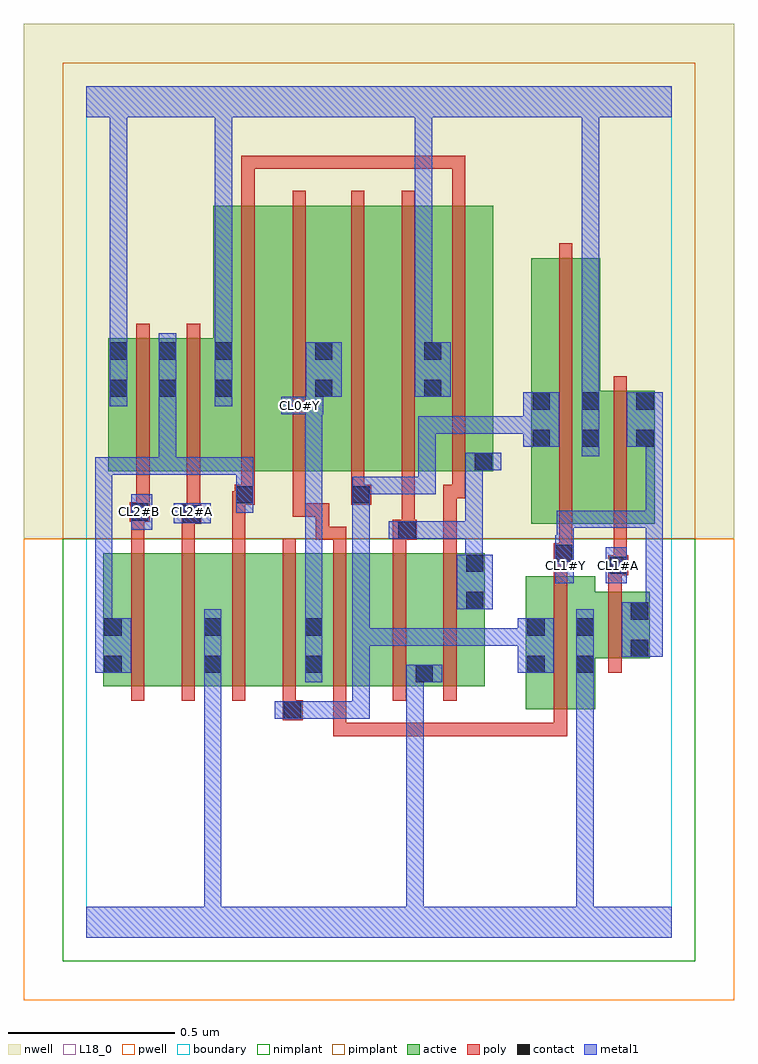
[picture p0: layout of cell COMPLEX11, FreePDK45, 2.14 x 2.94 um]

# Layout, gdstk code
import gdstk
lib = gdstk.Library(unit=1e-6, precision=1e-09)
def R(c, l, rs):  # rectangles x0, y0, x1, y1
    for r in rs: c.add(gdstk.rectangle(r[:2], r[2:], *l))
def A(c, l, x, y, w, h, nx, ny, dx, dy):  # array of equal rectangles
    R(c, l, [(x+i*dx, y+j*dy, x+i*dx+w, y+j*dy+h) for i in range(nx) for j in range(ny)])
active = (1, 0)
pwell = (2, 0)
nwell = (3, 0)
nimplant = (4, 0)
pimplant = (5, 0)
poly = (9, 0)
contact = (10, 0)
metal1 = (11, 0)
L18_0 = (18, 0)
boundary = (235, 0)

complex11 = lib.new_cell('COMPLEX11')
R(complex11, active, [(1.322,0.686,1.53,1.086), (1.47,0.686,1.53,0.984), (0.05,0.756,0.11,1.156), (0.05,0.756,0.23,1.156), (0.23,0.756,0.41,1.156), (0.35,0.756,0.41,1.156), (0.35,0.756,0.534,1.156), (0.534,0.756,0.714,1.156), (0.654,0.756,0.714,1.156), (0.654,0.756,0.866,1.156), (0.866,0.756,1.046,1.156), (0.986,0.756,1.198,1.156), (0.986,0.756,1.046,0.932), (1.138,0.756,1.198,1.156), (1.322,0.756,1.382,1.086), (1.47,0.84,1.694,1.04), (1.634,0.84,1.694,1.04), (1.338,1.244,1.398,2.044), (1.338,1.244,1.546,2.044), (1.486,1.244,1.71,1.644), (1.486,1.244,1.546,2.044), (1.65,1.244,1.71,1.644), (0.066,1.402,0.274,1.802), (0.066,1.402,0.126,1.802), (0.214,1.402,0.442,1.802), (0.382,1.402,0.562,2.202), (0.562,1.402,0.744,2.202), (0.684,1.402,0.892,2.202), (0.892,1.402,1.072,2.202), (1.012,1.402,1.072,2.044), (1.012,1.402,1.224,2.202), (1.164,1.402,1.224,2.044), (0.214,1.498,0.274,1.794), (0.382,1.498,0.442,1.794), (0.684,1.586,0.744,2.044)])
R(complex11, pwell, [(-0.188,-0.188,1.948,1.2)])
R(complex11, nwell, [(-0.188,1.2,1.948,2.748)])
R(complex11, nimplant, [(-0.072,-0.072,1.832,1.2)])
R(complex11, pimplant, [(-0.072,1.2,1.832,2.632)])
A(complex11, poly, 0.134, 0.712, 0.04, 0.488, 5, 1, 0.152, 0)
A(complex11, poly, 0.796, 1.358, 0.04, 0.888, 3, 1, 0.152, 0)
R(complex11, poly, [(0.742,0.606,0.782,0.646), (0.742,0.606,0.888,0.646), (0.742,0.606,0.782,0.752), (0.848,0.606,0.888,0.646), (0.848,0.606,0.888,0.646), (0.848,0.606,0.888,0.646), (0.848,0.606,1.14,0.646), (1.1,0.606,1.14,0.646), (1.1,0.606,1.14,0.646), (1.1,0.606,1.14,0.646), (1.1,0.606,1.246,0.646), (1.206,0.606,1.246,0.646), (1.206,0.606,1.446,0.646), (1.406,0.606,1.446,0.646), (1.406,0.606,1.446,0.646), (1.406,0.606,1.446,0.646), (1.406,0.606,1.446,0.682), (1.406,0.642,1.446,1.13), (0.59,0.654,0.65,0.714), (0.59,0.674,0.63,0.752), (0.922,0.712,0.962,1.2), (1.074,0.712,1.114,1.2), (1.57,0.796,1.61,1.084), (1.57,1.044,1.61,1.13), (1.406,1.09,1.446,1.166), (1.57,1.09,1.63,1.15), (1.586,1.11,1.626,1.24), (1.586,1.11,1.626,1.15), (1.586,1.11,1.626,1.15), (1.406,1.126,1.446,1.166), (1.406,1.126,1.446,1.166), (1.406,1.126,1.466,1.186), (1.422,1.146,1.462,1.24), (0.134,1.16,0.174,1.29), (0.286,1.16,0.326,1.284), (0.438,1.16,0.478,1.342), (0.742,1.16,0.782,1.236), (0.922,1.16,0.962,1.236), (1.074,1.16,1.114,1.362), (0.69,1.196,0.73,1.236), (0.69,1.196,0.782,1.236), (0.69,1.196,0.73,1.306), (0.742,1.196,0.782,1.236), (0.922,1.196,0.994,1.256), (1.422,1.2,1.462,2.088), (1.586,1.2,1.626,1.688), (0.948,1.216,0.988,1.256), (0.948,1.216,0.988,1.256), (0.948,1.216,0.988,1.398), (0.286,1.244,0.346,1.304), (0.13,1.25,0.19,1.31), (0.302,1.264,0.342,1.304), (0.302,1.264,0.342,1.304), (0.302,1.264,0.342,1.398), (0.62,1.266,0.66,1.306), (0.62,1.266,0.73,1.306), (0.62,1.266,0.66,1.398), (0.69,1.266,0.73,1.306), (0.15,1.27,0.19,1.31), (0.15,1.27,0.19,1.31), (0.15,1.27,0.19,1.398), (0.438,1.302,0.486,1.342), (0.446,1.302,0.486,1.342), (0.446,1.302,0.506,1.362), (0.796,1.302,0.856,1.362), (0.466,1.322,0.506,1.398), (0.796,1.322,0.836,1.398), (1.074,1.322,1.14,1.362), (1.1,1.322,1.14,1.362), (1.1,1.322,1.14,1.362), (1.1,1.322,1.14,1.398), (0.15,1.358,0.19,1.846), (0.302,1.358,0.342,1.846), (0.466,1.358,0.506,2.246), (0.62,1.358,0.66,2.246), (0.466,2.206,0.506,2.352), (1.1,2.206,1.14,2.352), (0.466,2.312,0.506,2.352), (0.466,2.312,0.506,2.352), (0.466,2.312,0.506,2.352), (0.466,2.312,0.676,2.352), (0.636,2.312,0.676,2.352), (0.636,2.312,0.782,2.352), (0.742,2.312,0.782,2.352), (0.742,2.312,0.782,2.352), (0.742,2.312,0.782,2.352), (0.742,2.312,1.008,2.352), (0.968,2.312,1.008,2.352), (0.968,2.312,1.008,2.352), (0.968,2.312,1.008,2.352), (0.968,2.312,1.14,2.352), (1.1,2.312,1.14,2.352), (1.1,2.312,1.14,2.352), (1.1,2.312,1.14,2.352)])
R(complex11, contact, [(0.594,0.658,0.646,0.71), (0.99,0.768,1.042,0.82), (0.054,0.796,0.106,0.848), (0.354,0.796,0.406,0.848), (0.658,0.796,0.71,0.848), (1.326,0.796,1.378,0.848), (1.474,0.796,1.526,0.848), (1.638,0.844,1.69,0.896), (0.054,0.908,0.106,0.96), (0.354,0.908,0.406,0.96), (0.658,0.908,0.71,0.96), (1.326,0.908,1.378,0.96), (1.474,0.908,1.526,0.96), (1.638,0.956,1.69,1.008), (1.142,0.988,1.194,1.04), (1.574,1.094,1.626,1.146), (1.142,1.1,1.194,1.152), (1.41,1.13,1.462,1.182), (0.938,1.2,0.99,1.252), (0.29,1.248,0.342,1.3), (0.134,1.254,0.186,1.306), (0.45,1.306,0.502,1.358), (0.8,1.306,0.852,1.358), (1.168,1.406,1.22,1.458), (1.342,1.476,1.394,1.528), (1.49,1.476,1.542,1.528), (1.654,1.476,1.706,1.528), (1.342,1.588,1.394,1.64), (1.49,1.588,1.542,1.64), (1.654,1.588,1.706,1.64), (0.07,1.626,0.122,1.678), (0.218,1.626,0.27,1.678), (0.386,1.626,0.438,1.678), (0.688,1.626,0.74,1.678), (1.016,1.626,1.068,1.678), (0.07,1.738,0.122,1.79), (0.218,1.738,0.27,1.79), (0.386,1.738,0.438,1.79), (0.688,1.738,0.74,1.79), (1.016,1.738,1.068,1.79)])
R(complex11, metal1, [(0,0,1.76,0.092), (0.354,0.04,0.406,0.092), (0.354,0.04,0.406,0.092), (0.354,0.04,0.406,0.092), (0.354,0.04,0.406,0.092), (0.354,0.04,0.406,0.092), (0.354,0.04,0.406,0.092), (0.354,0.04,0.406,0.092), (0.354,0.04,0.406,0.092), (0.354,0.04,0.406,0.092), (0.354,0.04,0.406,0.092), (0.354,0.04,0.406,0.092), (0.354,0.04,0.406,0.092), (0.354,0.04,0.406,0.82), (0.962,0.04,1.014,0.092), (0.962,0.04,1.014,0.092), (0.962,0.04,1.014,0.092), (0.962,0.04,1.014,0.092), (0.962,0.04,1.014,0.092), (0.962,0.04,1.014,0.092), (0.962,0.04,1.014,0.092), (0.962,0.04,1.014,0.092), (0.962,0.04,1.014,0.092), (0.962,0.04,1.014,0.092), (0.962,0.04,1.014,0.092), (0.962,0.04,1.014,0.092), (0.962,0.04,1.014,0.82), (1.474,0.04,1.526,0.092), (1.474,0.04,1.526,0.092), (1.474,0.04,1.526,0.092), (1.474,0.04,1.526,0.092), (1.474,0.04,1.526,0.092), (1.474,0.04,1.526,0.092), (1.474,0.04,1.526,0.092), (1.474,0.04,1.526,0.092), (1.474,0.04,1.526,0.092), (1.474,0.04,1.526,0.092), (1.474,0.04,1.526,0.092), (1.474,0.04,1.526,0.092), (1.474,0.04,1.526,0.82), (0.566,0.658,0.674,0.71), (0.622,0.658,0.674,0.71), (0.622,0.658,0.674,0.71), (0.622,0.658,0.674,0.71), (0.622,0.658,0.674,0.71), (0.622,0.658,0.852,0.71), (0.8,0.658,0.852,0.71), (0.8,0.658,0.852,0.71), (0.8,0.658,0.852,0.71), (0.8,0.658,0.852,0.71), (0.8,0.658,0.852,0.71), (0.8,0.658,0.852,0.93), (0.354,0.768,0.406,0.988), (0.658,0.768,0.71,0.988), (0.962,0.768,1.07,0.82), (1.474,0.768,1.526,0.988), (0.026,0.796,0.134,0.96), (1.298,0.796,1.406,0.96), (1.61,0.844,1.734,1.008), (0.8,0.878,0.852,0.93), (0.8,0.878,0.852,0.93), (0.8,0.878,0.852,0.93), (0.8,0.878,0.852,0.93), (0.8,0.878,0.852,0.93), (0.8,0.878,1.056,0.93), (0.8,0.878,0.852,1.386), (1.004,0.878,1.056,0.93), (1.004,0.878,1.056,0.93), (1.004,0.878,1.056,0.93), (1.004,0.878,1.056,0.93), (1.004,0.878,1.056,0.93), (1.004,0.878,1.166,0.93), (1.114,0.878,1.166,0.93), (1.114,0.878,1.166,0.93), (1.114,0.878,1.166,0.93), (1.114,0.878,1.35,0.93), (0.026,0.908,0.078,0.96), (0.026,0.908,0.078,0.96), (0.026,0.908,0.078,1.444), (0.658,0.936,0.71,1.626), (1.682,0.956,1.734,1.284), (1.682,0.956,1.734,1.008), (1.682,0.956,1.734,1.008), (1.114,0.988,1.222,1.152), (1.41,1.066,1.466,1.21), (1.562,1.066,1.626,1.174), (1.14,1.1,1.192,1.252), (1.414,1.158,1.466,1.21), (1.414,1.158,1.466,1.284), (0.91,1.2,1.018,1.252), (0.966,1.2,1.018,1.252), (0.966,1.2,1.018,1.252), (0.966,1.2,1.192,1.252), (1.14,1.2,1.192,1.252), (1.14,1.2,1.192,1.252), (1.14,1.2,1.192,1.252), (1.14,1.2,1.192,1.252), (1.14,1.2,1.192,1.252), (1.14,1.2,1.192,1.458), (0.134,1.226,0.198,1.334), (1.414,1.232,1.734,1.284), (1.682,1.232,1.734,1.528), (1.682,1.232,1.734,1.284), (1.682,1.232,1.734,1.284), (1.682,1.232,1.734,1.284), (0.262,1.246,0.374,1.306), (0.45,1.278,0.502,1.386), (0.8,1.278,0.852,1.386), (0.45,1.334,0.502,1.386), (0.45,1.334,0.502,1.444), (0.8,1.334,0.852,1.386), (0.8,1.334,0.852,1.386), (0.8,1.334,1.05,1.386), (0.998,1.334,1.05,1.386), (0.998,1.334,1.05,1.386), (0.998,1.334,1.05,1.386), (0.998,1.334,1.05,1.568), (0.026,1.392,0.078,1.444), (0.026,1.392,0.078,1.444), (0.026,1.392,0.078,1.444), (0.026,1.392,0.27,1.444), (0.218,1.392,0.27,1.444), (0.218,1.392,0.27,1.444), (0.218,1.392,0.27,1.444), (0.218,1.392,0.27,1.65), (0.218,1.392,0.502,1.444), (1.14,1.406,1.248,1.458), (1.49,1.448,1.542,1.668), (1.314,1.476,1.422,1.64), (1.626,1.476,1.734,1.64), (0.998,1.516,1.05,1.568), (0.998,1.516,1.05,1.568), (0.998,1.516,1.05,1.568), (0.998,1.516,1.24,1.568), (1.188,1.516,1.24,1.568), (1.188,1.516,1.24,1.568), (1.188,1.516,1.24,1.568), (1.188,1.516,1.366,1.568), (0.586,1.574,0.712,1.626), (0.66,1.574,0.712,1.626), (0.66,1.574,0.712,1.626), (0.66,1.574,0.712,1.678), (0.07,1.598,0.122,1.818), (0.218,1.598,0.27,1.818), (0.386,1.598,0.438,1.818), (1.49,1.616,1.542,2.52), (0.66,1.626,0.768,1.79), (0.988,1.626,1.096,1.79), (0.988,1.738,1.04,1.79), (0.988,1.738,1.04,1.79), (0.988,1.738,1.04,2.52), (0.07,1.766,0.122,1.818), (0.07,1.766,0.122,1.818), (0.07,1.766,0.122,1.818), (0.07,1.766,0.122,1.818), (0.07,1.766,0.122,2.52), (0.386,1.766,0.438,1.818), (0.386,1.766,0.438,1.818), (0.386,1.766,0.438,2.52), (0,2.468,1.76,2.56), (0.07,2.468,0.122,2.52), (0.07,2.468,0.122,2.52), (0.07,2.468,0.122,2.52), (0.07,2.468,0.122,2.52), (0.07,2.468,0.122,2.52), (0.07,2.468,0.122,2.52), (0.07,2.468,0.122,2.52), (0.07,2.468,0.122,2.52), (0.07,2.468,0.122,2.52), (0.07,2.468,0.122,2.52), (0.07,2.468,0.122,2.52), (0.07,2.468,0.122,2.52), (0.386,2.468,0.438,2.52), (0.386,2.468,0.438,2.52), (0.386,2.468,0.438,2.52), (0.386,2.468,0.438,2.52), (0.386,2.468,0.438,2.52), (0.386,2.468,0.438,2.52), (0.988,2.468,1.04,2.52), (0.988,2.468,1.04,2.52), (0.988,2.468,1.04,2.52), (0.988,2.468,1.04,2.52), (0.988,2.468,1.04,2.52), (0.988,2.468,1.04,2.52), (1.49,2.468,1.542,2.52), (1.49,2.468,1.542,2.52), (1.49,2.468,1.542,2.52), (1.49,2.468,1.542,2.52), (1.49,2.468,1.542,2.52), (1.49,2.468,1.542,2.52), (1.49,2.468,1.542,2.52), (1.49,2.468,1.542,2.52)])
R(complex11, L18_0, [(0,0,1.76,0.092), (0.354,0.04,0.406,0.092), (0.354,0.04,0.406,0.092), (0.354,0.04,0.406,0.092), (0.354,0.04,0.406,0.092), (0.354,0.04,0.406,0.092), (0.354,0.04,0.406,0.092), (0.354,0.04,0.406,0.092), (0.354,0.04,0.406,0.092), (0.354,0.04,0.406,0.092), (0.354,0.04,0.406,0.092), (0.354,0.04,0.406,0.092), (0.354,0.04,0.406,0.092), (0.354,0.04,0.406,0.82), (0.962,0.04,1.014,0.092), (0.962,0.04,1.014,0.092), (0.962,0.04,1.014,0.092), (0.962,0.04,1.014,0.092), (0.962,0.04,1.014,0.092), (0.962,0.04,1.014,0.092), (0.962,0.04,1.014,0.092), (0.962,0.04,1.014,0.092), (0.962,0.04,1.014,0.092), (0.962,0.04,1.014,0.092), (0.962,0.04,1.014,0.092), (0.962,0.04,1.014,0.092), (0.962,0.04,1.014,0.82), (1.474,0.04,1.526,0.092), (1.474,0.04,1.526,0.092), (1.474,0.04,1.526,0.092), (1.474,0.04,1.526,0.092), (1.474,0.04,1.526,0.092), (1.474,0.04,1.526,0.092), (1.474,0.04,1.526,0.092), (1.474,0.04,1.526,0.092), (1.474,0.04,1.526,0.092), (1.474,0.04,1.526,0.092), (1.474,0.04,1.526,0.092), (1.474,0.04,1.526,0.092), (1.474,0.04,1.526,0.82), (0.354,0.768,0.406,0.988), (0.658,0.768,0.71,0.988), (0.962,0.768,1.07,0.82), (1.474,0.768,1.526,0.988), (1.61,0.844,1.734,1.008), (0.658,0.936,0.71,1.626), (1.682,0.956,1.734,1.008), (1.682,0.956,1.734,1.008), (1.682,0.956,1.734,1.284), (1.41,1.066,1.466,1.21), (1.562,1.066,1.626,1.174), (1.414,1.094,1.466,1.146), (1.574,1.094,1.626,1.146), (1.414,1.158,1.466,1.21), (1.414,1.158,1.466,1.284), (0.134,1.226,0.198,1.334), (1.414,1.232,1.734,1.284), (1.682,1.232,1.734,1.284), (1.682,1.232,1.734,1.284), (1.682,1.232,1.734,1.284), (1.682,1.232,1.734,1.528), (0.262,1.246,0.374,1.306), (0.134,1.254,0.186,1.306), (0.294,1.254,0.346,1.306), (1.49,1.448,1.542,1.668), (1.626,1.476,1.734,1.64), (0.586,1.574,0.712,1.626), (0.614,1.574,0.666,1.626), (0.66,1.574,0.712,1.626), (0.66,1.574,0.712,1.626), (0.66,1.574,0.712,1.678), (0.07,1.598,0.122,1.818), (0.386,1.598,0.438,1.818), (1.49,1.616,1.542,2.52), (0.66,1.626,0.768,1.79), (0.988,1.626,1.096,1.79), (0.988,1.738,1.04,1.79), (0.988,1.738,1.04,1.79), (0.988,1.738,1.04,2.52), (0.07,1.766,0.122,1.818), (0.07,1.766,0.122,1.818), (0.07,1.766,0.122,1.818), (0.07,1.766,0.122,1.818), (0.07,1.766,0.122,2.52), (0.386,1.766,0.438,1.818), (0.386,1.766,0.438,1.818), (0.386,1.766,0.438,2.52), (0,2.468,1.76,2.56), (0.07,2.468,0.122,2.52), (0.07,2.468,0.122,2.52), (0.07,2.468,0.122,2.52), (0.07,2.468,0.122,2.52), (0.07,2.468,0.122,2.52), (0.07,2.468,0.122,2.52), (0.07,2.468,0.122,2.52), (0.07,2.468,0.122,2.52), (0.07,2.468,0.122,2.52), (0.07,2.468,0.122,2.52), (0.07,2.468,0.122,2.52), (0.07,2.468,0.122,2.52), (0.386,2.468,0.438,2.52), (0.386,2.468,0.438,2.52), (0.386,2.468,0.438,2.52), (0.386,2.468,0.438,2.52), (0.386,2.468,0.438,2.52), (0.386,2.468,0.438,2.52), (0.988,2.468,1.04,2.52), (0.988,2.468,1.04,2.52), (0.988,2.468,1.04,2.52), (0.988,2.468,1.04,2.52), (0.988,2.468,1.04,2.52), (0.988,2.468,1.04,2.52), (1.49,2.468,1.542,2.52), (1.49,2.468,1.542,2.52), (1.49,2.468,1.542,2.52), (1.49,2.468,1.542,2.52), (1.49,2.468,1.542,2.52), (1.49,2.468,1.542,2.52), (1.49,2.468,1.542,2.52), (1.49,2.468,1.542,2.52)])
R(complex11, boundary, [(0,0,1.76,2.56)])
complex11.add(gdstk.Label('CL0#Y', (0.64,1.6), layer=11, texttype=0))
complex11.add(gdstk.Label('CL1#A', (1.6,1.12), layer=11, texttype=0))
complex11.add(gdstk.Label('CL1#Y', (1.44,1.12), layer=11, texttype=0))
complex11.add(gdstk.Label('CL2#A', (0.32,1.28), layer=11, texttype=0))
complex11.add(gdstk.Label('CL2#B', (0.16,1.28), layer=11, texttype=0))

lib.write_gds('COMPLEX11.gds')
